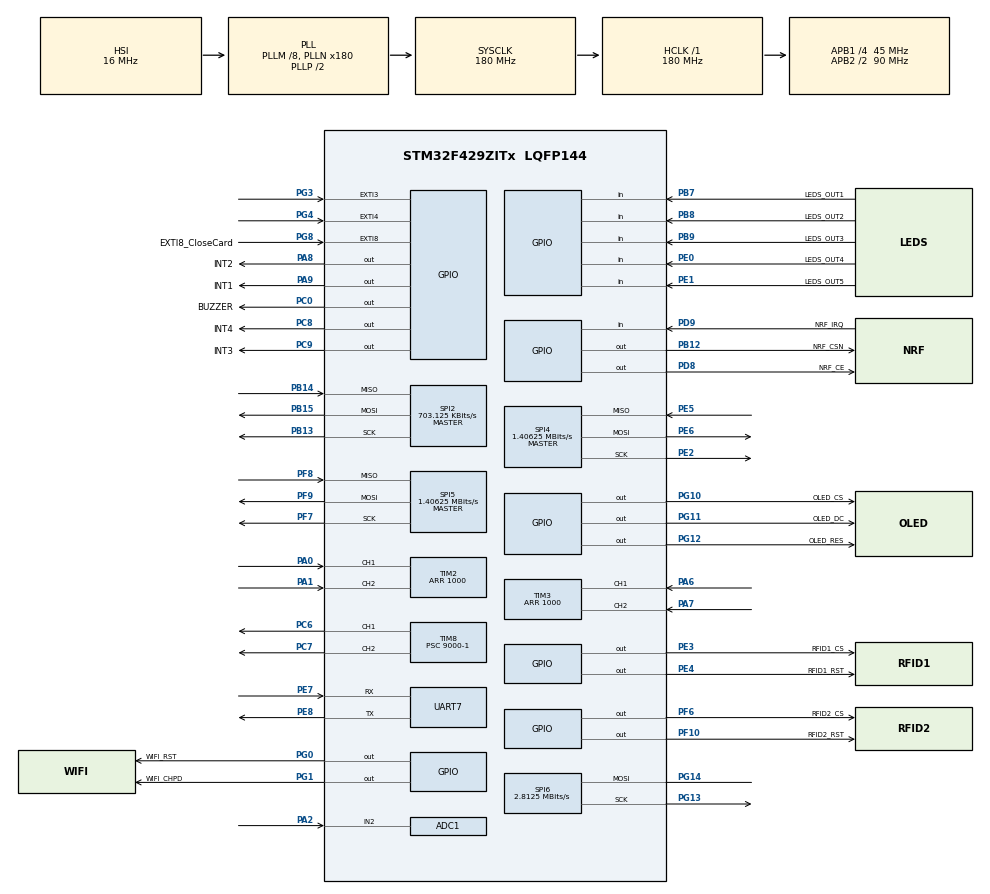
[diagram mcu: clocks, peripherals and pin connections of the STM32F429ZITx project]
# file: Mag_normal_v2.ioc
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ADC1.Channel-11\#ChannelRegularConversion=ADC_CHANNEL_TEMPSENSOR
ADC1.Channel-12\#ChannelRegularConversion=ADC_CHANNEL_VREFINT
ADC1.Channel-9\#ChannelRegularConversion=ADC_CHANNEL_2
ADC1.ClockPrescaler=ADC_CLOCK_SYNC_PCLK_DIV8
ADC1.ContinuousConvMode=ENABLE
ADC1.DMAContinuousRequests=ENABLE
ADC1.EOCSelection=ADC_EOC_SEQ_CONV
ADC1.InjNumberOfConversion=0
ADC1.NbrOfConversion=3
ADC1.NbrOfConversionFlag=1
ADC1.Rank-11\#ChannelRegularConversion=2
ADC1.Rank-12\#ChannelRegularConversion=3
ADC1.Rank-9\#ChannelRegularConversion=1
ADC1.Resolution=ADC_RESOLUTION_12B
ADC1.SamplingTime-11\#ChannelRegularConversion=ADC_SAMPLETIME_480CYCLES
ADC1.SamplingTime-12\#ChannelRegularConversion=ADC_SAMPLETIME_480CYCLES
ADC1.SamplingTime-9\#ChannelRegularConversion=ADC_SAMPLETIME_480CYCLES
ADC1.ScanConvMode=ENABLE
ADC1.master=1
Dma.ADC1.0.Direction=DMA_PERIPH_TO_MEMORY
Dma.ADC1.0.FIFOMode=DMA_FIFOMODE_DISABLE
Dma.ADC1.0.Instance=DMA2_Stream0
Dma.ADC1.0.MemDataAlignment=DMA_MDATAALIGN_HALFWORD
Dma.ADC1.0.MemInc=DMA_MINC_ENABLE
Dma.ADC1.0.Mode=DMA_CIRCULAR
Dma.ADC1.0.PeriphDataAlignment=DMA_PDATAALIGN_HALFWORD
Dma.ADC1.0.PeriphInc=DMA_PINC_DISABLE
Dma.ADC1.0.Priority=DMA_PRIORITY_LOW
Dma.Request0=ADC1
Mcu.Family=STM32F4
Mcu.Name=STM32F429ZITx
Mcu.Package=LQFP144
NVIC.DMA2_Stream0_IRQn=true\:0\:0\:false\:false\:true\:false\:true
NVIC.EXTI3_IRQn=true\:0\:0\:false\:false\:true\:true\:true
NVIC.EXTI4_IRQn=true\:0\:0\:false\:false\:true\:true\:true
NVIC.EXTI9_5_IRQn=true\:0\:0\:false\:false\:true\:true\:true
NVIC.PriorityGroup=NVIC_PRIORITYGROUP_4
NVIC.TIM8_BRK_TIM12_IRQn=true\:0\:0\:false\:false\:true\:true\:true
NVIC.UART7_IRQn=true\:0\:0\:false\:false\:true\:true\:true
PA0/WKUP.Signal=S_TIM2_CH1_ETR
PA1.Signal=S_TIM2_CH2
PA13.Mode=Trace_Asynchronous_SW
PA13.Signal=SYS_JTMS-SWDIO
PA14.Mode=Trace_Asynchronous_SW
PA14.Signal=SYS_JTCK-SWCLK
PA2.Signal=ADCx_IN2
PA6.Signal=S_TIM3_CH1
PA7.Signal=S_TIM3_CH2
PA8.GPIO_Label=INT2
PA8.Signal=GPIO_Output
PA9.GPIO_Label=INT1
PA9.Signal=GPIO_Output
PB12.GPIO_Label=NRF_CSN
PB12.Signal=GPIO_Output
PB13.Mode=Full_Duplex_Master
PB13.Signal=SPI2_SCK
PB14.Mode=Full_Duplex_Master
PB14.Signal=SPI2_MISO
PB15.Mode=Full_Duplex_Master
PB15.Signal=SPI2_MOSI
PB3.Mode=Trace_Asynchronous_SW
PB3.Signal=SYS_JTDO-SWO
PB7.GPIO_Label=LEDS_OUT1
PB7.Signal=GPIO_Input
PB8.GPIO_Label=LEDS_OUT2
PB8.Signal=GPIO_Input
PB9.GPIO_Label=LEDS_OUT3
PB9.Signal=GPIO_Input
PC0.GPIO_Label=BUZZER
PC0.Signal=GPIO_Output
PC6.Signal=S_TIM8_CH1
PC7.Signal=S_TIM8_CH2
PC8.GPIO_Label=INT4
PC8.Signal=GPIO_Output
PC9.GPIO_Label=INT3
PC9.Signal=GPIO_Output
PD8.GPIO_Label=NRF_CE
PD8.Signal=GPIO_Output
PD9.GPIO_Label=NRF_IRQ
PD9.Signal=GPIO_Input
PE0.GPIO_Label=LEDS_OUT4
PE0.Signal=GPIO_Input
PE1.GPIO_Label=LEDS_OUT5
PE1.Signal=GPIO_Input
PE2.Mode=Full_Duplex_Master
PE2.Signal=SPI4_SCK
PE3.GPIO_Label=RFID1_CS
PE3.Signal=GPIO_Output
PE4.GPIO_Label=RFID1_RST
PE4.Signal=GPIO_Output
PE5.Mode=Full_Duplex_Master
PE5.Signal=SPI4_MISO
PE6.Mode=Full_Duplex_Master
PE6.Signal=SPI4_MOSI
PE7.Mode=Asynchronous
PE7.Signal=UART7_RX
PE8.Mode=Asynchronous
PE8.Signal=UART7_TX
PF10.GPIO_Label=RFID2_RST
PF10.Signal=GPIO_Output
PF6.GPIO_Label=RFID2_CS
PF6.Signal=GPIO_Output
PF7.Mode=Full_Duplex_Master
PF7.Signal=SPI5_SCK
PF8.Mode=Full_Duplex_Master
PF8.Signal=SPI5_MISO
PF9.Mode=Full_Duplex_Master
PF9.Signal=SPI5_MOSI
PG0.GPIO_Label=WIFI_RST
PG0.Signal=GPIO_Output
PG1.GPIO_Label=WIFI_CHPD
PG1.Signal=GPIO_Output
PG10.GPIO_Label=OLED_CS
PG10.Signal=GPIO_Output
PG11.GPIO_Label=OLED_DC
PG11.Signal=GPIO_Output
PG12.GPIO_Label=OLED_RES
PG12.Signal=GPIO_Output
PG13.Mode=Simplex_Bidirectional_Master
PG13.Signal=SPI6_SCK
PG14.Mode=Simplex_Bidirectional_Master
PG14.Signal=SPI6_MOSI
PG3.GPIO_ModeDefaultEXTI=GPIO_MODE_IT_RISING
PG3.GPIO_PuPd=GPIO_PULLUP
PG3.Signal=GPXTI3
PG4.GPIO_ModeDefaultEXTI=GPIO_MODE_IT_RISING
PG4.GPIO_PuPd=GPIO_PULLUP
PG4.Signal=GPXTI4
PG8.GPIO_Label=EXTI8_CloseCard
PG8.GPIO_ModeDefaultEXTI=GPIO_MODE_IT_RISING
PG8.Signal=GPXTI8
PH0/OSC_IN.Mode=HSE-External-Oscillator
PH0/OSC_IN.Signal=RCC_OSC_IN
PH1/OSC_OUT.Mode=HSE-External-Oscillator
PH1/OSC_OUT.Signal=RCC_OSC_OUT
ProjectManager.HeapSize=0x200
ProjectManager.StackSize=0x400
ProjectManager.TargetToolchain=TrueSTUDIO
RCC.48MHZClocksFreq_Value=90000000
RCC.AHBFreq_Value=180000000
RCC.APB1CLKDivider=RCC_HCLK_DIV4
RCC.APB1Freq_Value=45000000
RCC.APB1TimFreq_Value=90000000
RCC.APB2CLKDivider=RCC_HCLK_DIV2
RCC.APB2Freq_Value=90000000
RCC.APB2TimFreq_Value=180000000
RCC.CortexFreq_Value=180000000
RCC.HCLKFreq_Value=180000000
RCC.HSE_VALUE=25000000
RCC.HSI_VALUE=16000000
RCC.LSE_VALUE=32768
RCC.PLLM=8
RCC.PLLN=180
RCC.SYSCLKFreq_VALUE=180000000
RCC.SYSCLKSource=RCC_SYSCLKSOURCE_PLLCLK
RCC.VCOOutputFreq_Value=360000000
SH.ADCx_IN2.0=ADC1_IN2,IN2
SH.S_TIM2_CH1_ETR.0=TIM2_CH1,Encoder_Interface
SH.S_TIM2_CH2.0=TIM2_CH2,Encoder_Interface
SH.S_TIM3_CH1.0=TIM3_CH1,Encoder_Interface
SH.S_TIM3_CH2.0=TIM3_CH2,Encoder_Interface
SH.S_TIM8_CH1.0=TIM8_CH1,PWM Generation1 CH1
SH.S_TIM8_CH2.0=TIM8_CH2,PWM Generation2 CH2
SPI2.BaudRatePrescaler=SPI_BAUDRATEPRESCALER_64
SPI2.CalculateBaudRate=703.125 KBits/s
SPI2.Direction=SPI_DIRECTION_2LINES
SPI2.Mode=SPI_MODE_MASTER
SPI2.VirtualType=VM_MASTER
SPI4.BaudRatePrescaler=SPI_BAUDRATEPRESCALER_64
SPI4.CalculateBaudRate=1.40625 MBits/s
SPI4.Direction=SPI_DIRECTION_2LINES
SPI4.Mode=SPI_MODE_MASTER
SPI4.VirtualType=VM_MASTER
SPI5.BaudRatePrescaler=SPI_BAUDRATEPRESCALER_64
SPI5.CalculateBaudRate=1.40625 MBits/s
SPI5.Direction=SPI_DIRECTION_2LINES
SPI5.Mode=SPI_MODE_MASTER
SPI5.VirtualType=VM_MASTER
SPI6.BaudRatePrescaler=SPI_BAUDRATEPRESCALER_32
SPI6.CalculateBaudRate=2.8125 MBits/s
SPI6.Direction=SPI_DIRECTION_1LINE
SPI6.Mode=SPI_MODE_MASTER
SPI6.VirtualType=VM_MASTER
TIM12.AutoReloadPreload=TIM_AUTORELOAD_PRELOAD_ENABLE
TIM12.ClockDivision=TIM_CLOCKDIVISION_DIV2
TIM12.Period=1
TIM12.Prescaler=40000-1
TIM2.EncoderMode=TIM_ENCODERMODE_TI12
TIM2.IC1Filter=15
TIM2.IC2Filter=15
TIM2.Period=1000
TIM3.EncoderMode=TIM_ENCODERMODE_TI12
TIM3.IC1Filter=15
TIM3.IC1Polarity=TIM_ICPOLARITY_RISING
TIM3.IC2Filter=15
TIM3.IC2Polarity=TIM_ICPOLARITY_RISING
TIM3.Period=1000
TIM8.AutoReloadPreload=TIM_AUTORELOAD_PRELOAD_ENABLE
TIM8.Channel-PWM\ Generation1\ CH1=TIM_CHANNEL_1
TIM8.Channel-PWM\ Generation2\ CH2=TIM_CHANNEL_2
TIM8.ClockDivision=TIM_CLOCKDIVISION_DIV4
TIM8.Period=100
TIM8.Prescaler=9000-1
TIM8.Pulse-PWM\ Generation1\ CH1=80
TIM8.Pulse-PWM\ Generation2\ CH2=80
UART7.VirtualMode=Asynchronous
VP_ADC1_TempSens_Input.Mode=IN-TempSens
VP_ADC1_Vref_Input.Mode=IN-Vrefint
VP_TIM12_VS_ClockSourceINT.Mode=Internal
board=custom

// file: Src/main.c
/* USER CODE BEGIN Header */
/**
 ******************************************************************************
 * @file           : main.c
 * @brief          : Main program body
 ******************************************************************************
 * @attention
 *
 * <h2><center>&copy; Copyright (c) 2019 STMicroelectronics.
 * All rights reserved.</center></h2>
 *
 * This software component is licensed by ST under BSD 3-Clause license,
 * the "License"; You may not use this file except in compliance with the
 * License. You may obtain a copy of the License at:
 *                        opensource.org/licenses/BSD-3-Clause
 *
 ******************************************************************************
 */
/* USER CODE END Header */

#include "main.h"
#include "adc.h"
#include "dma.h"
#include "gfxsimulator.h"
#include "spi.h"
#include "tim.h"
#include "usart.h"
#include "gpio.h"

/* USER CODE BEGIN Includes */
#include "SSD1306.h"
#include "RC522_driver.h"
#include "ESP_8266_driver.h"
#include "FIFO_driver.h"
#include "DEVICE_driver.h"
#include "Motor_Control.h"
#include "LED_Strip.h"
#include "Home_Driver.h"
#include "cardSystem.h"
#include "OLED_GUI.h"
#include <string.h>
#include "nrf24.h"
#include "Robot.h"
/* USER CODE END Includes */

/* USER CODE BEGIN PTD */
#define ITM_Port32(n) (*((volatile unsigned long *)(0xE0000000 + 4*n)))
#define nRF24_WAIT_TIMEOUT         (uint32_t)0x000FFFFF
/* USER CODE END PTD */

/* USER CODE BEGIN PV */

/* Tablica kard i sektorow */
Stos_typeDef* STOS_CardSector;
Stos_typeDef STOS_Read;

/* Variables ESP */
uint8_t Received[100];
bool timeouted;

uint8_t NumberOfTags = 6;
uint8_t TempSectorData[4] = { 0xAA, 0xAA, 0xAA, 0xAA };
uint8_t TempData[32];
uint8_t TempTagsData[] = { 1, 2, 3, 4, 5, 6, 7, 8, 9, 10, 11, 12, 13, 14, 15,
		16, 17, 18, 19, 20, 21, 22, 23, 24 };
PROTOCOL_FrameTypeDef p_frame;

/**
 * FIFO buffers
 */
volatile uint8_t Fifo_Tx[FIFO_BUF_SIZE];
volatile uint8_t Fifo_Rx[FIFO_BUF_SIZE];
FIFO_ApiTypeDef FIFO_TX = { Fifo_Tx, 0, 0, 0, FIFO_BUF_SIZE };
FIFO_ApiTypeDef FIFO_RX = { Fifo_Rx, 0, 0, 0, FIFO_BUF_SIZE };

/**
 * Linear Buffers
 */
uint8_t LinBuff[FIFO_BUF_SIZE];
uint8_t TagData[FIFO_BUF_SIZE];
PROTOCOL_LinearBuffer_ApiTypeDef LinearBuffer = { LinBuff, 0,
FIFO_BUF_SIZE };
PROTOCOL_LinearBuffer_ApiTypeDef TagDataStuct = { TagData, 0,
FIFO_BUF_SIZE };

/* Private variable to RFID */
uint16_t CardIterator = 0;
unsigned char CardID[4];
unsigned char MyID[4] = { 0x6A, 0x08, 0xE7, 0xAB }; //My card on my keys
uint8_t HomeCardID[4] = { 102, 7, 171, 20 };
uint8_t LastCard[4];
uint8_t LastSector[4];
uint8_t data[50];
uint16_t RFID_size = 0;
RFID_type_def rfid1;
RFID_type_def rfid2;
uint8_t rfid_id = 0;
uint8_t rfid_onRead = 0;
uint8_t Home_flag = 0;
uint16_t Motor_Left_impulse = 0;
uint16_t Motor_Right_impulse = 0;

/* Private variable to driver motors */
volatile double error1;
volatile double error2;
volatile int16_t speed = 5;
Motor_InitTypeDef MotorRight;
Motor_InitTypeDef MotorLeft;
MotorPID_InitTypeDef MotorPID_Left;
MotorPID_InitTypeDef MotorPID_Right;
LedStrip_InitTypeDef LedStrip;
LedStrip_Speed_InitTypeDef LedStrip_Speed;

/* Variable flag to clock system */
volatile uint8_t FlagPID;
volatile uint16_t Flag_read_card;
volatile uint8_t FlagRead_LedStrip;
volatile uint16_t FlagRX_th;
volatile uint8_t ADC_flag;
volatile uint16_t Backwards_timerStop;

/* Variable debugging */
volatile uint8_t watek1, watek2, watek3;

/* variable OLDE */
uint16_t OLED_refreshFlag;
uint8_t OLED_refreshOn;
structdef_OLED_GUI OLED_data;

/* NRF variable */
nRF24_RXResult pipe;
uint8_t nRF24_payloadRx[32];
uint8_t nRF24_payloadTx[32];
uint8_t payload_length;
nRF24_TXResult tx_res;

/* Robot */
RobotData_InitTypeDef RobotData;
Config_InitTypeDef RobotConfig;
Status_InitTypeDef RobotStatus;
Movment_InitTypeDef movment;

/* USER CODE END PV */

void SystemClock_Config(void);
/* USER CODE BEGIN PFP */

/* */
void HAL_UART_RxCpltCallback(UART_HandleTypeDef *huart) {
	if (UART7 == huart->Instance) {
		ITM_SendChar(Received[0]);
		FIFO_PutByte(&FIFO_RX, *Received);
		if (FIFO_RX.length > 16) {
		}
		HAL_UART_Receive_IT(&huart7, Received, 1); // Ponowne w³¹czenie nas³uchiwania
	}
}

void PrepareFrame(uint8_t* data, uint8_t cmd) {
	p_frame.header.dst_address = BROADCAST_ADDRESS;
	p_frame.header.src_address = DEVICE_ADDRESS;
//  PROTOCOL_FrameTypeDef* temp = (PROTOCOL_FrameTypeDef*)data;
	p_frame.header.length = sizeof(PROTOCOL_HeaderTypeDef) + (strlen(data));
	p_frame.header.command = cmd;
	p_frame.header.response = true;
	uint8_t size = strlen(data);
	memcpy(p_frame.resp_payload.get_data_payload.tags_data, data, size);
}

uint8_t UART_SendChar(uint8_t* ch)
{
	HAL_UART_Transmit(&huart7,ch,1,10);
}

/* USER CODE END PFP */

int main(void)
{
  /* USER CODE BEGIN 1 */
	RobotData.config = & RobotConfig;
	RobotData.status = & RobotStatus;
	RobotData.stos = &STOS_CardSector;
	RobotData.actionsPerformed=1;

	movment.motorLeft = &MotorLeft;
	movment.motorRight = &MotorRight;
	movment.motorPID_Left = &MotorPID_Left;
	movment.motorPID_Right = &MotorPID_Right;

	RobotData.movment = &movment;

	RobotInit((Config_InitTypeDef*)RobotData.config);
	/* Variable used to convert internal temperature */

  /* USER CODE END 1 */

  /* MCU Configuration--------------------------------------------------------*/

  /* Reset of all peripherals, Initializes the Flash interface and the Systick. */
  HAL_Init();

  /* USER CODE BEGIN Init */
	Scan_falg = 0;
  /* USER CODE END Init */

  /* Configure the system clock */
  SystemClock_Config();

  /* Initialize all configured peripherals */
  MX_GPIO_Init();
  MX_DMA_Init();
  MX_SPI4_Init();
  MX_SPI5_Init();
  MX_SPI6_Init();
  MX_TIM2_Init();
  MX_TIM3_Init();
  MX_TIM8_Init();
  MX_UART7_Init();
  MX_GFXSIMULATOR_Init();
  MX_ADC1_Init();
  MX_TIM12_Init();
  MX_SPI2_Init();
  /* USER CODE BEGIN 2 */

	/* Set cs and reset in high state */
	HAL_GPIO_WritePin(RFID1_CS_GPIO_Port, RFID1_CS_Pin, SET);
	HAL_GPIO_WritePin(RFID2_CS_GPIO_Port, RFID2_CS_Pin, SET);
	HAL_GPIO_WritePin(RFID1_RST_GPIO_Port, RFID1_RST_Pin, SET);
	HAL_GPIO_WritePin(RFID2_RST_GPIO_Port, RFID2_RST_Pin, SET);

	/* display initialization */
	ssd1306_init();
	ssd1306_clear_screen(0x00);
	ssd1306_hello_word();

	/* MFRC522 initialization  */
	HAL_Delay(300);
	MFRC552_preinit(&rfid1, &rfid2);
	SPI_use_instance = &rfid2;  //	assigning an rfid instance
	MFRC522_Init();
	SPI_use_instance = &rfid1;	//	assigning an rfid instance
	MFRC522_Init();

	/* end of initialization, sound signal */
	HAL_GPIO_WritePin(BUZZER_GPIO_Port, BUZZER_Pin, SET);
	HAL_Delay(500);
	HAL_GPIO_WritePin(BUZZER_GPIO_Port, BUZZER_Pin, RESET);

	/* NRF24 initialization */
	nRF24_CE_H();
	HAL_Delay(500);
	nRF24_CE_L();
	nRF24_Check();
	nRF24_Init();
	HAL_Delay(200);
	nRF24_setConfiguration();
	HAL_Delay(200);
	nRF24_PrintSetting();

	/* initialization of encoders and timer */
	HAL_TIM_PWM_Start(&htim8, TIM_CHANNEL_1);
	HAL_TIM_PWM_Start(&htim8, TIM_CHANNEL_2);
	HAL_TIM_Encoder_Start(&htim2, TIM_CHANNEL_ALL);
	HAL_TIM_Encoder_Start(&htim3, TIM_CHANNEL_ALL);
	HAL_TIM_Base_Start_IT(&htim12);				 // start system timer
	HAL_NVIC_EnableIRQ(TIM8_BRK_TIM12_IRQn); 	 // start of timer interrupts

	/* initialization led stript */
	vLedStrip_Init(&LedStrip);

	/* Initialization motors and regulator PID */
	vMotor_init(&MotorLeft, &MotorRight);
	vMotorPID_init(&MotorPID_Left, &MotorPID_Right);

	HAL_NVIC_EnableIRQ(EXTI9_5_IRQn);
	HAL_NVIC_EnableIRQ(EXTI3_IRQn);
	HAL_NVIC_EnableIRQ(EXTI4_IRQn);

//	//TODO: delete this and implement application value task
//	MotorPID_Left.ValueTask = 4;
//	MotorPID_Right.ValueTask = 4;

	HAL_ADC_Start_DMA(&hadc1, (uint32_t*) ADC_tab, 3);
	printf("sytem init\n\r");
	ssd1306_clear_screen(0x00);

  /* USER CODE END 2 */

  /* Infinite loop */
  /* USER CODE BEGIN WHILE */
	while (1) {
		if (RobotNrfTimer > 2000 ) {
			RobotNrfTimer = 0;
			RobotData.firstCall = Robot_CheckBufforNrf(); //check buffor
			if(RobotData.firstCall)                       // firstly call function
			{
				printf("FirstCall\n\r");
				RobotData.actionsPerformed = 0;	// reset action performed
				Robot_PopBuffer(&RobotData);    // get data for buffer
				Robot_PerformAction(&RobotData);// this function is responsible for controlling the robot after receiving the data
			}
			if(!RobotData.actionsPerformed) // whether sending was successful
			{
				printf("TX -> ");
				Robot_ChangeTX();
				if(Robot_SendData(&RobotData) == nRF24_TX_SUCCESS)
					{
						printf("success TX\n\r");
						RobotData.actionsPerformed = 1; //success
					}
				Robot_ChangeRX();
			}
		}

		if (Start_charging) {
			printf("Start Charging\n\r");
			Home_flag = 0;
			vMotor_Control(&MotorLeft, BreakeSoft);
			vMotor_Control(&MotorRight, BreakeSoft);
			Charging = TRUE;
			Start_charging = FALSE;
		}
		if (Charging) {
			if (BatteryVoltage > 12.4) {
				printf("Stop Charging\n\r");
				Charging = FALSE;
				HAL_GPIO_WritePin(BUZZER_GPIO_Port, BUZZER_Pin, SET);
				Charging = FALSE;
				vMotorPID_clear(&MotorPID_Left, &MotorPID_Right);
				MotorPID_Left.ValueTask = 3;
				MotorPID_Right.ValueTask = 3;
				MotorPID_Left.e_sum = 0;
				MotorPID_Right.e_sum = 0;
				vMotor_Control(&MotorLeft, Back);
				vMotor_Control(&MotorRight, Back);
				Semafor_BackHome = TRUE;
			}
		}

		if (Backwards_timerStop > 3000) {
			Backwards_timerStop = 0;
			Semafor_BackHome = FALSE;
			vMotor_Control(&MotorLeft, BreakeSoft);
			vMotor_Control(&MotorRight, BreakeSoft);
			HAL_GPIO_WritePin(BUZZER_GPIO_Port, BUZZER_Pin, RESET);
		}

		if (Display_VT > 1000) {
			Display_VT = 0;
			OLED_data.ADC_valueTemp = ADC_tab[1];
			OLED_data.ADC_valueVoltage = ADC_tab[0];
			OLED_GIU(&OLED_data, eDisplayVoltageAndTemp);
		}
    /* USER CODE END WHILE */

    /* USER CODE BEGIN 3 */

		/* re-reading card reading support  */
		if (Flag_Close_RFID > 3000) {
			//TODO poprawic powielone zmienen + nie dzialajace przerwanie ponowienia
			if (Count_NoReadRFID > 2) {
				rfid_onRead = 0;
				Semaphor_CloseRFID = 0;
				Count_NoReadRFID = 0;
				Semaphor_NoReadRFID = 0;
				Flag_Close_RFID = 0;
			}
			Flag_Close_RFID = 0;
			Semaphor_CloseRFID = 0;
			Semaphor_NoReadRFID = 1;
			Count_NoReadRFID++;
		}

		if (Semaphor_CloseRFID && Flag_read_card > 250) {
			Flag_read_card = 0;
			if (rfid_id) {
				SPI_use_instance = &rfid1;
				rfid_id = RFID1;
			} else {
				SPI_use_instance = &rfid2;
				rfid_id = RFID2;
			}
			if (MFRC522_Check(CardID) == MI_OK) {
				OLED_refreshOn = 1;
				rfid_onRead = 0;
				Semaphor_CloseRFID = 0;
				Count_NoReadRFID = 0;
				Semaphor_NoReadRFID = 0;
				Flag_Close_RFID = 0;

				if (!rfid_id) {
					for (int q = 0; q <= 3; q++)
						OLED_data.LastCard[q] = CardID[q];
					pushItem(&STOS_CardSector, &OLED_data.LastCard, &OLED_data.LastSector,CardIterator);
					CardIterator++;

				} else {
					for (int q = 0; q <= 3; q++)
						OLED_data.LastSector[q] = CardID[q];
						CardIterator = 1;
					if (Home_checkCard((uint8_t*) HomeCardID,
							(uint8_t*) CardID)) {
						NVIC_DisableIRQ(EXTI9_5_IRQn);
						Scan_falg = FALSE;
						HomeCard_enable = TRUE;
						Rotate90_flag = TRUE;
						Motor_Left_impulse = 0;
						Motor_Right_impulse = 0;
						MotorPID_Left.e_sum = 0;
						MotorPID_Right.e_sum = 0;
					}
				}
				OLED_GIU(&OLED_data, eDisplayCard);
			} else {
				printf("Nie wykryto karty \r\n");
			}

		}

		/* thread of the robot's movement rotate90 */
		if (Rotate90_flag && FlagRead_LedStrip > 10) {
			FlagRead_LedStrip = 0;
			Maneuver_StructInit maneuver;
			maneuver.finishImpulse = 900;
			maneuver.leftFinsh = Motor_Left_impulse;
			maneuver.rightFinsh = Motor_Right_impulse;
			MotorPID_Left.ValueTask = 3;
			MotorPID_Right.ValueTask = 3;
//			vMotorAction_LedStrip(&MotorLeft, &MotorRight,
//								rotationInPlace_Left);
			if (Home_ManeuverRotate(&MotorLeft, &MotorRight, rotateLeft,
					&maneuver)) {
				Rotate90_flag = 0;
				Home_flag = 1;
//				NVIC_EnableIRQ(EXTI9_5_IRQn);
			}
		}

		/* thread of the robot's movement home support */
		if (Home_flag && FlagRead_LedStrip >= 10) {
			FlagRead_LedStrip = 0;
			vLedStrip_ReadStatus(&LedStrip);
			LedStrip_Speed = Home_motorControl(&LedStrip);
			if ((speed + LedStrip_Speed.LeftSpeed) >= 0) {
				MotorPID_Left.ValueTask = speed + LedStrip_Speed.LeftSpeed;
			} else {
				MotorPID_Left.ValueTask = 0;
			}
			if ((speed + LedStrip_Speed.RightSpeed) >= 0) {
				MotorPID_Right.ValueTask = speed + LedStrip_Speed.RightSpeed;
			} else {
				MotorPID_Right.ValueTask = 0;
			}
			vMotorAction_LedStrip(&MotorLeft, &MotorRight,
					LedStrip_Speed.Action);
		}

		/* thread of the robot's movement support */
		if (Scan_falg && FlagRead_LedStrip >= 10) {
			FlagRead_LedStrip = 0;
			vLedStrip_ReadStatus(&LedStrip);
			LedStrip_Speed = vLed_control(&LedStrip, Semaphor_NoReadRFID);
			if ((speed + LedStrip_Speed.LeftSpeed) >= 0) {
				MotorPID_Left.ValueTask = speed + LedStrip_Speed.LeftSpeed;
			} else {
				MotorPID_Left.ValueTask = 0;
			}
			if ((speed + LedStrip_Speed.RightSpeed) >= 0) {
				MotorPID_Right.ValueTask = speed + LedStrip_Speed.RightSpeed;
			} else {
				MotorPID_Right.ValueTask = 0;
			}
			vMotorAction_LedStrip(&MotorLeft, &MotorRight,
					LedStrip_Speed.Action);
		}

		/* the thread of the PID Controller */
		if (FlagPID >= 10) {
			FlagPID = 0;
			if (Rotate90_flag) {
				uint16_t encoderCounterL = uGetCounterTim(
						MotorLeft.Tim_Encoder);
				uint16_t encoderCounterR = uGetCounterTim(
						MotorRight.Tim_Encoder);
				if (encoderCounterL < 500) {
					Motor_Left_impulse += encoderCounterL;
				} else {
					Motor_Left_impulse += (1000 - encoderCounterL);
				}
				if (encoderCounterR < 500) {
					Motor_Right_impulse += encoderCounterR;
				} else {
					Motor_Right_impulse += (1000 - encoderCounterR);
				}
			}
			vMotorPID_Control(&MotorPID_Left, &MotorLeft);
			vMotorPID_Control(&MotorPID_Right, &MotorRight);

			watek1 = TIM2->CNT;
			watek2 = TIM3->CNT;
			error1 = MotorPID_Left.ExecutionValue;
			error2 = MotorPID_Right.ExecutionValue;

			vMotor_SetPWM(&MotorLeft, error1);
			vMotor_SetPWM(&MotorRight, error2);

			vClearCounter(MotorLeft.Tim_Encoder);
			vClearCounter(MotorRight.Tim_Encoder);
		}
	}

  /* USER CODE END 3 */
}

void SystemClock_Config(void)
{
  RCC_OscInitTypeDef RCC_OscInitStruct = {0};
  RCC_ClkInitTypeDef RCC_ClkInitStruct = {0};

  /** Configure the main internal regulator output voltage
  */
  __HAL_RCC_PWR_CLK_ENABLE();
  __HAL_PWR_VOLTAGESCALING_CONFIG(PWR_REGULATOR_VOLTAGE_SCALE1);
  /** Initializes the CPU, AHB and APB busses clocks
  */
  RCC_OscInitStruct.OscillatorType = RCC_OSCILLATORTYPE_HSI;
  RCC_OscInitStruct.HSIState = RCC_HSI_ON;
  RCC_OscInitStruct.HSICalibrationValue = RCC_HSICALIBRATION_DEFAULT;
  RCC_OscInitStruct.PLL.PLLState = RCC_PLL_ON;
  RCC_OscInitStruct.PLL.PLLSource = RCC_PLLSOURCE_HSI;
  RCC_OscInitStruct.PLL.PLLM = 8;
  RCC_OscInitStruct.PLL.PLLN = 180;
  RCC_OscInitStruct.PLL.PLLP = RCC_PLLP_DIV2;
  RCC_OscInitStruct.PLL.PLLQ = 4;
  if (HAL_RCC_OscConfig(&RCC_OscInitStruct) != HAL_OK)
  {
    Error_Handler();
  }
  /** Activate the Over-Drive mode
  */
  if (HAL_PWREx_EnableOverDrive() != HAL_OK)
  {
    Error_Handler();
  }
  /** Initializes the CPU, AHB and APB busses clocks
  */
  RCC_ClkInitStruct.ClockType = RCC_CLOCKTYPE_HCLK|RCC_CLOCKTYPE_SYSCLK
                              |RCC_CLOCKTYPE_PCLK1|RCC_CLOCKTYPE_PCLK2;
  RCC_ClkInitStruct.SYSCLKSource = RCC_SYSCLKSOURCE_PLLCLK;
  RCC_ClkInitStruct.AHBCLKDivider = RCC_SYSCLK_DIV1;
  RCC_ClkInitStruct.APB1CLKDivider = RCC_HCLK_DIV4;
  RCC_ClkInitStruct.APB2CLKDivider = RCC_HCLK_DIV2;

  if (HAL_RCC_ClockConfig(&RCC_ClkInitStruct, FLASH_LATENCY_5) != HAL_OK)
  {
    Error_Handler();
  }
}

/* USER CODE BEGIN 4 */
//###############
//##############
void HAL_TIM_PeriodElapsedCallback(TIM_HandleTypeDef *htim) {
	if (htim->Instance == TIM12)
		Display_VT++;
	Flag_read_card++;
	FlagPID++;
	FlagRead_LedStrip++;
	ADC_flag++;
	CheckStatus_flag++;
	RobotNrfTimer++;
	if (Semaphor_CloseRFID) {
		Flag_Close_RFID++;
	}
	if (Semafor_BackHome) {
		Backwards_timerStop++;
	}
}

void HAL_GPIO_EXTI_Callback(uint16_t GPIO_Pin) {
	if (GPIO_Pin == EXTI8_CloseCard_Pin) {
		OLED_refreshOn = 1;
		Semaphor_NoReadRFID = 0;  //
		Semaphor_CloseRFID = 1;
		rfid_onRead = 1;
	}
	if (GPIO_Pin == GPIO_PIN_3 || GPIO_Pin == GPIO_PIN_4) {
		printf("zderzak\n\r"); //TODO: do usuniecia
		if (HomeCard_enable)
			Start_charging = TRUE;
		else
			Incident_flag = TRUE;
	}
}

/* USER CODE END 4 */

void Error_Handler(void)
{
}

/************************ (C) COPYRIGHT STMicroelectronics *****END OF FILE****/
